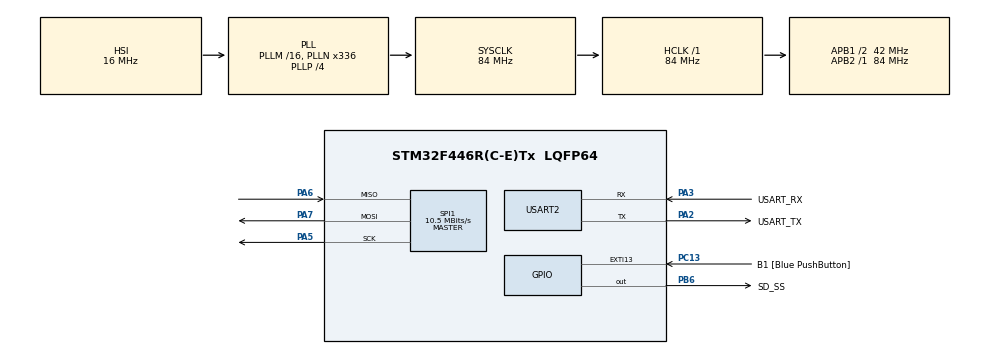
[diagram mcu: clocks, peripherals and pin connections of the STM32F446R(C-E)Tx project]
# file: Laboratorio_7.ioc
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FATFS._MAX_SS=4096
FATFS._USE_LFN=1
Mcu.Family=STM32F4
Mcu.Name=STM32F446R(C-E)Tx
Mcu.Package=LQFP64
NVIC.PriorityGroup=NVIC_PRIORITYGROUP_0
PA13.GPIO_Label=TMS
PA13.Mode=Serial_Wire
PA13.Signal=SYS_JTMS-SWDIO
PA14.GPIO_Label=TCK
PA14.Mode=Serial_Wire
PA14.Signal=SYS_JTCK-SWCLK
PA2.GPIO_Label=USART_TX
PA2.Mode=Asynchronous
PA2.Signal=USART2_TX
PA3.GPIO_Label=USART_RX
PA3.Mode=Asynchronous
PA3.Signal=USART2_RX
PA5.Mode=Full_Duplex_Master
PA5.Signal=SPI1_SCK
PA6.Mode=Full_Duplex_Master
PA6.Signal=SPI1_MISO
PA7.Mode=Full_Duplex_Master
PA7.Signal=SPI1_MOSI
PB3.GPIO_Label=SWO
PB3.Signal=SYS_JTDO-SWO
PB6.GPIO_Label=SD_SS
PB6.GPIO_Speed=GPIO_SPEED_FREQ_MEDIUM
PB6.PinState=GPIO_PIN_SET
PB6.Signal=GPIO_Output
PC13.GPIO_Label=B1 [Blue PushButton]
PC13.GPIO_ModeDefaultEXTI=GPIO_MODE_IT_FALLING
PC13.Signal=GPXTI13
PC14-OSC32_IN.Mode=LSE-External-Oscillator
PC14-OSC32_IN.Signal=RCC_OSC32_IN
PC15-OSC32_OUT.Mode=LSE-External-Oscillator
PC15-OSC32_OUT.Signal=RCC_OSC32_OUT
PH0-OSC_IN.Mode=HSE-External-Oscillator
PH0-OSC_IN.Signal=RCC_OSC_IN
PH1-OSC_OUT.Mode=HSE-External-Oscillator
PH1-OSC_OUT.Signal=RCC_OSC_OUT
ProjectManager.HeapSize=0x200
ProjectManager.StackSize=0x400
ProjectManager.TargetToolchain=STM32CubeIDE
RCC.48MHZClocksFreq_Value=84000000
RCC.AHBFreq_Value=84000000
RCC.APB1CLKDivider=RCC_HCLK_DIV2
RCC.APB1Freq_Value=42000000
RCC.APB1TimFreq_Value=84000000
RCC.APB2Freq_Value=84000000
RCC.APB2TimFreq_Value=84000000
RCC.CortexFreq_Value=84000000
RCC.FLatency-AdvancedSettings=FLASH_LATENCY_2
RCC.HCLKFreq_Value=84000000
RCC.HSE_VALUE=8000000
RCC.HSI_VALUE=16000000
RCC.PLLN=336
RCC.PLLP=RCC_PLLP_DIV4
RCC.SYSCLKFreq_VALUE=84000000
RCC.SYSCLKSource=RCC_SYSCLKSOURCE_PLLCLK
RCC.USBFreq_Value=168000000
RCC.VCOOutputFreq_Value=336000000
SPI1.BaudRatePrescaler=SPI_BAUDRATEPRESCALER_8
SPI1.CalculateBaudRate=10.5 MBits/s
SPI1.Direction=SPI_DIRECTION_2LINES
SPI1.Mode=SPI_MODE_MASTER
SPI1.VirtualType=VM_MASTER
USART2.VirtualMode=VM_ASYNC
VP_FATFS_VS_Generic.Mode=User_defined
board=NUCLEO-F446RE

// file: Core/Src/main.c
/* USER CODE BEGIN Header */
/**
  ******************************************************************************
  * @file           : main.c
  * @brief          : Main program body
  ******************************************************************************
  * @attention
  *
  * Copyright (c) 2025 STMicroelectronics.
  * All rights reserved.
  *
  * This software is licensed under terms that can be found in the LICENSE file
  * in the root directory of this software component.
  * If no LICENSE file comes with this software, it is provided AS-IS.
  *
  ******************************************************************************
  */
/* USER CODE END Header */
#include "main.h"
#include "fatfs.h"

/* USER CODE BEGIN Includes */

#include "fatfs_sd.h"
#include "string.h"
#include "stdio.h"

/* USER CODE END Includes */

/* USER CODE BEGIN PD */

SPI_HandleTypeDef hspi1;
FATFS fs;
FATFS *pfs;
FIL fil;
FRESULT fres;
DWORD fre_clust;
uint32_t totalSpace, freeSpace;
char buffer[100];

/* USER CODE END PD */

SPI_HandleTypeDef hspi1;

UART_HandleTypeDef huart2;

/* USER CODE BEGIN PV */

char buffer_ok[39]= "Micro SD card is mounted succesfully!\n";
char buffer_NotOk[30] = "Micro SD card's mount error!\n";
char buffer_Open[25]= "File Open for reading. \n";
char buffer_NotOpen[34] = "File was not opened for reading.\n";

/* USER CODE END PV */

void SystemClock_Config(void);
static void MX_GPIO_Init(void);
static void MX_USART2_UART_Init(void);
static void MX_SPI1_Init(void);
/* USER CODE BEGIN PFP */
void transmit_uart(char *string){
    HAL_UART_Transmit(&huart2, (uint8_t *)string, strlen(string), HAL_MAX_DELAY);
}

/* USER CODE END PFP */

int main(void)
{

  /* MCU Configuration--------------------------------------------------------*/

  /* Reset of all peripherals, Initializes the Flash interface and the Systick. */
  HAL_Init();

  /* Configure the system clock */
  SystemClock_Config();

  /* Initialize all configured peripherals */
  MX_GPIO_Init();
  MX_USART2_UART_Init();
  MX_SPI1_Init();
  MX_FATFS_Init();
  /* USER CODE BEGIN 2 */

  //--------MONTAJE-------
  fres = f_mount(&fs, "/", 0);

  if(fres == FR_OK){

	  transmit_uart("SD Montada! \n");

  } else if(fres != FR_OK){

	  transmit_uart("ERROR: SD NO Montada! \n");
  }

  //--------ABRIR ARCHIVO -----
  fres = f_open(&fil, "Gojo_1_txt.txt", FA_OPEN_APPEND | FA_WRITE | FA_READ);

  if(fres == FR_OK){

	  transmit_uart("Archivo Abierto! \n");

  } else if(fres != FR_OK){

	  transmit_uart("ERROR: Archivo No se abrio! \n");
  }

//------------LECTURA DEL ARCHIVO

  while(f_gets(buffer, sizeof(buffer), &fil)){
	  char mRd[100];
	  sprintf(mRd, "%s", buffer);
	 transmit_uart(mRd);
  }

  transmit_uart("Esperando 5 segundos\n");
  HAL_Delay(5000);

  fres = f_close(&fil); //Cerrar archivo
  if(fres == FR_OK){

	  transmit_uart("Archivo cerrado! \n");

  } else if(fres != FR_OK){

	  transmit_uart("ERROR: Archivo NO se cerro! \n");
  }

  f_mount(NULL, "", 1); // Desmontar

  if(fres == FR_OK){

	  transmit_uart("SD desmontada! \n");

  } else if(fres != FR_OK){

	  transmit_uart("ERROR: NO pudo ser desmontada! \n");
  }

  /* USER CODE END 2 */

  /* Infinite loop */
  while (1)
  {

  }
}

void SystemClock_Config(void)
{
  RCC_OscInitTypeDef RCC_OscInitStruct = {0};
  RCC_ClkInitTypeDef RCC_ClkInitStruct = {0};

  /** Configure the main internal regulator output voltage
  */
  __HAL_RCC_PWR_CLK_ENABLE();
  __HAL_PWR_VOLTAGESCALING_CONFIG(PWR_REGULATOR_VOLTAGE_SCALE3);

  /** Initializes the RCC Oscillators according to the specified parameters
  * in the RCC_OscInitTypeDef structure.
  */
  RCC_OscInitStruct.OscillatorType = RCC_OSCILLATORTYPE_HSI;
  RCC_OscInitStruct.HSIState = RCC_HSI_ON;
  RCC_OscInitStruct.HSICalibrationValue = RCC_HSICALIBRATION_DEFAULT;
  RCC_OscInitStruct.PLL.PLLState = RCC_PLL_ON;
  RCC_OscInitStruct.PLL.PLLSource = RCC_PLLSOURCE_HSI;
  RCC_OscInitStruct.PLL.PLLM = 16;
  RCC_OscInitStruct.PLL.PLLN = 336;
  RCC_OscInitStruct.PLL.PLLP = RCC_PLLP_DIV4;
  RCC_OscInitStruct.PLL.PLLQ = 2;
  RCC_OscInitStruct.PLL.PLLR = 2;
  if (HAL_RCC_OscConfig(&RCC_OscInitStruct) != HAL_OK)
  {
    Error_Handler();
  }

  /** Initializes the CPU, AHB and APB buses clocks
  */
  RCC_ClkInitStruct.ClockType = RCC_CLOCKTYPE_HCLK|RCC_CLOCKTYPE_SYSCLK
                              |RCC_CLOCKTYPE_PCLK1|RCC_CLOCKTYPE_PCLK2;
  RCC_ClkInitStruct.SYSCLKSource = RCC_SYSCLKSOURCE_PLLCLK;
  RCC_ClkInitStruct.AHBCLKDivider = RCC_SYSCLK_DIV1;
  RCC_ClkInitStruct.APB1CLKDivider = RCC_HCLK_DIV2;
  RCC_ClkInitStruct.APB2CLKDivider = RCC_HCLK_DIV1;

  if (HAL_RCC_ClockConfig(&RCC_ClkInitStruct, FLASH_LATENCY_2) != HAL_OK)
  {
    Error_Handler();
  }
}

static void MX_SPI1_Init(void)
{

  /* SPI1 parameter configuration*/
  hspi1.Instance = SPI1;
  hspi1.Init.Mode = SPI_MODE_MASTER;
  hspi1.Init.Direction = SPI_DIRECTION_2LINES;
  hspi1.Init.DataSize = SPI_DATASIZE_8BIT;
  hspi1.Init.CLKPolarity = SPI_POLARITY_LOW;
  hspi1.Init.CLKPhase = SPI_PHASE_1EDGE;
  hspi1.Init.NSS = SPI_NSS_SOFT;
  hspi1.Init.BaudRatePrescaler = SPI_BAUDRATEPRESCALER_8;
  hspi1.Init.FirstBit = SPI_FIRSTBIT_MSB;
  hspi1.Init.TIMode = SPI_TIMODE_DISABLE;
  hspi1.Init.CRCCalculation = SPI_CRCCALCULATION_DISABLE;
  hspi1.Init.CRCPolynomial = 10;
  if (HAL_SPI_Init(&hspi1) != HAL_OK)
  {
    Error_Handler();
  }

}

static void MX_USART2_UART_Init(void)
{

  huart2.Instance = USART2;
  huart2.Init.BaudRate = 115200;
  huart2.Init.WordLength = UART_WORDLENGTH_8B;
  huart2.Init.StopBits = UART_STOPBITS_1;
  huart2.Init.Parity = UART_PARITY_NONE;
  huart2.Init.Mode = UART_MODE_TX_RX;
  huart2.Init.HwFlowCtl = UART_HWCONTROL_NONE;
  huart2.Init.OverSampling = UART_OVERSAMPLING_16;
  if (HAL_UART_Init(&huart2) != HAL_OK)
  {
    Error_Handler();
  }

}

static void MX_GPIO_Init(void)
{
  GPIO_InitTypeDef GPIO_InitStruct = {0};

  /* GPIO Ports Clock Enable */
  __HAL_RCC_GPIOC_CLK_ENABLE();
  __HAL_RCC_GPIOH_CLK_ENABLE();
  __HAL_RCC_GPIOA_CLK_ENABLE();
  __HAL_RCC_GPIOB_CLK_ENABLE();

  /*Configure GPIO pin Output Level */
  HAL_GPIO_WritePin(SD_SS_GPIO_Port, SD_SS_Pin, GPIO_PIN_SET);

  /*Configure GPIO pin : B1_Pin */
  GPIO_InitStruct.Pin = B1_Pin;
  GPIO_InitStruct.Mode = GPIO_MODE_IT_FALLING;
  GPIO_InitStruct.Pull = GPIO_NOPULL;
  HAL_GPIO_Init(B1_GPIO_Port, &GPIO_InitStruct);

  /*Configure GPIO pin : SD_SS_Pin */
  GPIO_InitStruct.Pin = SD_SS_Pin;
  GPIO_InitStruct.Mode = GPIO_MODE_OUTPUT_PP;
  GPIO_InitStruct.Pull = GPIO_NOPULL;
  GPIO_InitStruct.Speed = GPIO_SPEED_FREQ_MEDIUM;
  HAL_GPIO_Init(SD_SS_GPIO_Port, &GPIO_InitStruct);

}

void Error_Handler(void)
{
  __disable_irq();
  while (1)
  {
  }
}
